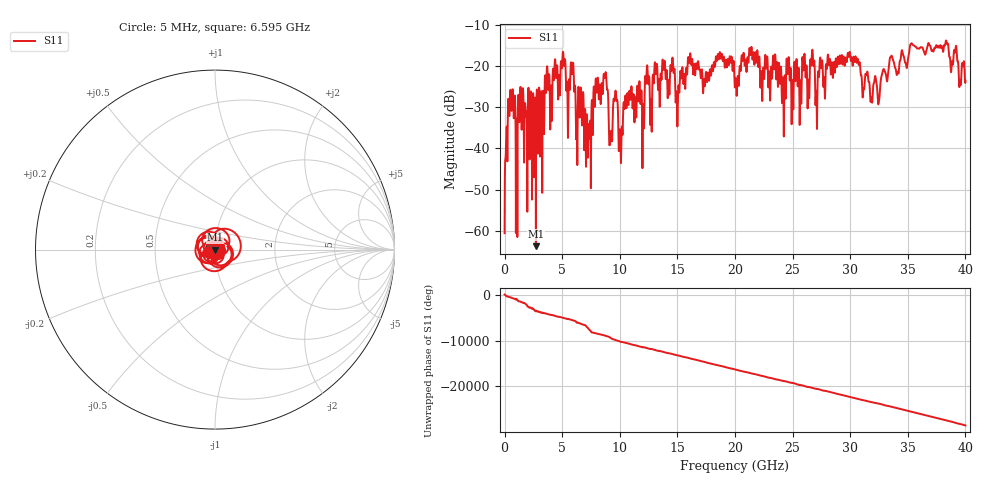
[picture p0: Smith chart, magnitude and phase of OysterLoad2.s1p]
# MHz MA S R 50.0
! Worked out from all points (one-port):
!   8000 points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, 5 MHz to 40 GHz, reference 50 ohm
!   lowest |S11| = -63.7 dB at 2.72 GHz (marker M1), VSWR 1.00, Z = 50.1 - j0.0128 ohm
!   |S11| at or under -10 dB: start of sweep to end of sweep
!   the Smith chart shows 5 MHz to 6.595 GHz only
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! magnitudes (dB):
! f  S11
! 5 MHz  -60.5
! 220 MHz  -37.5
! 515 MHz  -25.8
! 960 MHz  -36.4
! 1.425 GHz  -26.9
! 2.72 GHz  -63.7
! 5.005 GHz  -19.4
! 5.915 GHz  -19.7
! 7.33 GHz  -36.0
! 7.91 GHz  -23.2
! 8.755 GHz  -21.7
! 9.195 GHz  -37.6
! 9.625 GHz  -26.1
! 10.01 GHz  -35.4
! 10.51 GHz  -27.4
! 11.96 GHz  -39.9
! 13.07 GHz  -19.4
! 14.58 GHz  -18.0
! 15.01 GHz  -34.4
! 16.1 GHz  -17.1
! 20 GHz  -24.8
! 21.42 GHz  -15.4
! 25 GHz  -23.7
! 30 GHz  -17.3
! 31.86 GHz  -28.0
! 35.01 GHz  -18.6
! 38.33 GHz  -13.9
! 40 GHz  -23.6
